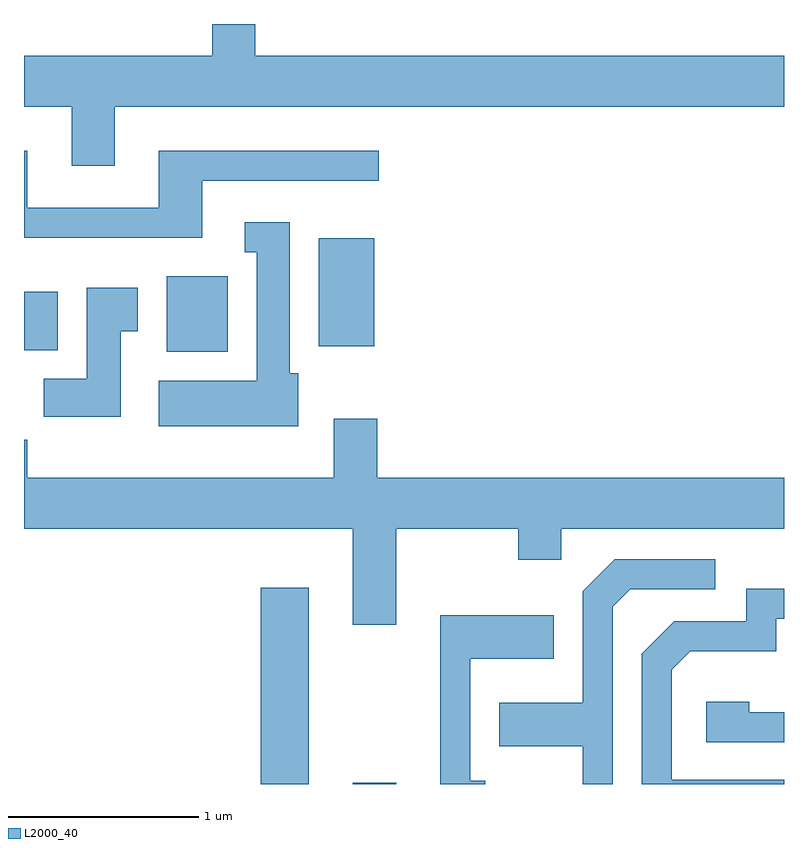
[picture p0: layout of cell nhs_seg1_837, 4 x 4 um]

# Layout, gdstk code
import gdstk
lib = gdstk.Library(unit=1e-6, precision=1e-09)
def R(c, l, rs):  # rectangles x0, y0, x1, y1
    for r in rs: c.add(gdstk.rectangle(r[:2], r[2:], *l))
def P(c, l, *ps):  # polygons
    for p in ps: c.add(gdstk.Polygon(p, *l))
L2000_40 = (2000, 40)

nhs_seg1_837 = lib.new_cell('nhs_seg1_837')
R(nhs_seg1_837, L2000_40, [(210.856,973.712,211.109,974.744), (211.341,973.712,211.569,973.719), (210.361,975.986,210.684,976.384), (209.611,975.996,209.789,976.304), (211.161,976.016,211.454,976.584)])
P(nhs_seg1_837, L2000_40, [(210.089,977.276),(213.611,977.276),(213.611,977.544),(210.829,977.544),(210.829,977.712),(210.601,977.712),(210.601,977.544),(209.611,977.544),(209.611,977.276),(209.861,977.276),(209.861,976.966),(210.089,976.966)],
  [(210.549,976.886),(211.478,976.886),(211.478,977.044),(210.321,977.044),(210.321,976.744),(209.629,976.744),(209.629,977.044),(209.611,977.044),(209.611,976.586),(210.549,976.586)],
  [(211.054,975.874),(211.009,975.874),(211.009,976.669),(210.773,976.669),(210.773,976.511),(210.836,976.511),(210.836,975.834),(210.321,975.834),(210.321,975.596),(211.054,975.596)],
  [(210.119,976.096),(210.209,976.096),(210.209,976.324),(209.941,976.324),(209.941,975.844),(209.716,975.844),(209.716,975.646),(210.119,975.646)],
  [(211.569,975.056),(212.211,975.056),(212.211,974.891),(212.439,974.891),(212.439,975.056),(213.611,975.056),(213.611,975.324),(211.469,975.324),(211.469,975.634),(211.241,975.634),(211.241,975.324),(209.629,975.324),(209.629,975.524),(209.611,975.524),(209.611,975.056),(211.341,975.056),(211.341,974.551),(211.569,974.551)],
  [(212.709,974.644),(212.802,974.736),(213.248,974.736),(213.248,974.894),(212.719,974.894),(212.551,974.727),(212.551,974.139),(212.111,974.139),(212.111,973.911),(212.551,973.911),(212.551,973.712),(212.709,973.712)],
  [(213.611,973.734),(213.019,973.734),(213.019,974.314),(213.117,974.411),(213.569,974.411),(213.569,974.581),(213.611,974.581),(213.611,974.739),(213.411,974.739),(213.411,974.569),(213.034,974.569),(212.861,974.397),(212.861,973.712),(213.611,973.712)],
  [(212.038,973.729),(211.959,973.729),(211.959,974.371),(212.399,974.371),(212.399,974.599),(211.801,974.599),(211.801,973.712),(212.038,973.712)],
  [(213.611,974.089),(213.429,974.089),(213.429,974.144),(213.201,974.144),(213.201,973.931),(213.611,973.931)])

lib.write_gds('nhs_seg1_837.gds')
